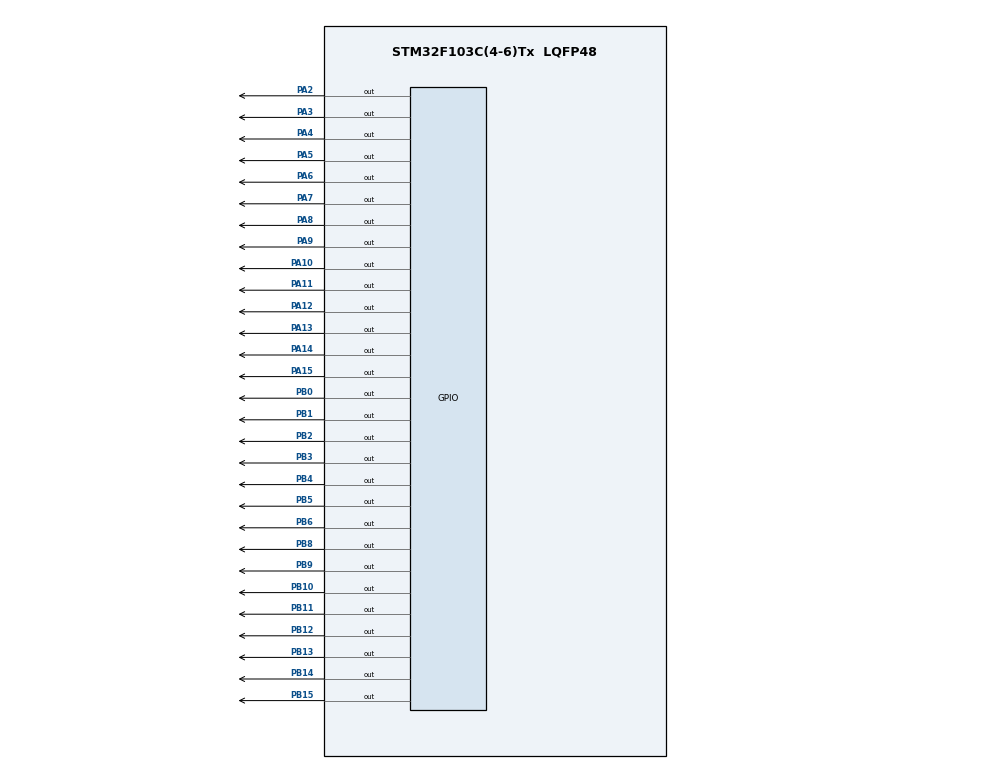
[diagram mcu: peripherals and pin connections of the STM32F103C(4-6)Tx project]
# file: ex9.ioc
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Mcu.Family=STM32F1
Mcu.Name=STM32F103C(4-6)Tx
Mcu.Package=LQFP48
NVIC.PriorityGroup=NVIC_PRIORITYGROUP_4
NVIC.TIM2_IRQn=true\:0\:0\:false\:false\:true\:true\:true
PA10.Signal=GPIO_Output
PA11.Signal=GPIO_Output
PA12.Signal=GPIO_Output
PA13.Signal=GPIO_Output
PA14.Signal=GPIO_Output
PA15.Signal=GPIO_Output
PA2.Signal=GPIO_Output
PA3.Signal=GPIO_Output
PA4.Signal=GPIO_Output
PA5.Signal=GPIO_Output
PA6.Signal=GPIO_Output
PA7.Signal=GPIO_Output
PA8.Signal=GPIO_Output
PA9.Signal=GPIO_Output
PB0.Signal=GPIO_Output
PB1.Signal=GPIO_Output
PB10.Signal=GPIO_Output
PB11.Signal=GPIO_Output
PB12.Signal=GPIO_Output
PB13.Signal=GPIO_Output
PB14.Signal=GPIO_Output
PB15.Signal=GPIO_Output
PB2.Signal=GPIO_Output
PB3.Signal=GPIO_Output
PB4.Signal=GPIO_Output
PB5.Signal=GPIO_Output
PB6.Signal=GPIO_Output
PB8.Signal=GPIO_Output
PB9.Signal=GPIO_Output
PD0-OSC_IN.Mode=HSE-External-Oscillator
PD0-OSC_IN.Signal=RCC_OSC_IN
PD1-OSC_OUT.Mode=HSE-External-Oscillator
PD1-OSC_OUT.Signal=RCC_OSC_OUT
ProjectManager.HeapSize=0x200
ProjectManager.StackSize=0x400
ProjectManager.TargetToolchain=STM32CubeIDE
RCC.APB1Freq_Value=8000000
RCC.APB2Freq_Value=8000000
TIM2.Period=9
TIM2.Prescaler=7999
VP_SYS_VS_ND.Mode=No_Debug
VP_TIM2_VS_ClockSourceINT.Mode=Internal
board=custom

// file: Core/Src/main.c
/* USER CODE BEGIN Header */
/**
  ******************************************************************************
  * @file           : main.c
  * @brief          : Main program body
  ******************************************************************************
  * @attention
  *
  * <h2><center>&copy; Copyright (c) 2021 STMicroelectronics.
  * All rights reserved.</center></h2>
  *
  * This software component is licensed by ST under BSD 3-Clause license,
  * the "License"; You may not use this file except in compliance with the
  * License. You may obtain a copy of the License at:
  *                        opensource.org/licenses/BSD-3-Clause
  *
  ******************************************************************************
  */
/* USER CODE END Header */
#include "main.h"

TIM_HandleTypeDef htim2;

void SystemClock_Config(void);
static void MX_GPIO_Init(void);
static void MX_TIM2_Init(void);

/* USER CODE BEGIN 0 */
/* USER CODE END PFP */

/* Private user code ---------------------------------------------------------*/
/* USER CODE BEGIN 0 */
void display7SEG(int num)
{
    HAL_GPIO_WritePin(GPIOB, GPIO_PIN_0 | GPIO_PIN_1 | GPIO_PIN_2 | GPIO_PIN_3 | GPIO_PIN_4 | GPIO_PIN_5 | GPIO_PIN_6, GPIO_PIN_SET);
    switch (num)
    {
    case 0:
        HAL_GPIO_WritePin(GPIOB, GPIO_PIN_0 | GPIO_PIN_1 | GPIO_PIN_2 | GPIO_PIN_3 | GPIO_PIN_4 | GPIO_PIN_5, GPIO_PIN_RESET);
        break;
    case 1:
        HAL_GPIO_WritePin(GPIOB, GPIO_PIN_1 | GPIO_PIN_2, GPIO_PIN_RESET);
        break;
    case 2:
        HAL_GPIO_WritePin(GPIOB, GPIO_PIN_0 | GPIO_PIN_1 | GPIO_PIN_3 | GPIO_PIN_4 | GPIO_PIN_6, GPIO_PIN_RESET);
        break;
    case 3:
        HAL_GPIO_WritePin(GPIOB, GPIO_PIN_0 | GPIO_PIN_1 | GPIO_PIN_2 | GPIO_PIN_3 | GPIO_PIN_6, GPIO_PIN_RESET);
        break;
    case 4:
        HAL_GPIO_WritePin(GPIOB, GPIO_PIN_1 | GPIO_PIN_2 | GPIO_PIN_5 | GPIO_PIN_6, GPIO_PIN_RESET);
        break;
    case 5:
        HAL_GPIO_WritePin(GPIOB, GPIO_PIN_0 | GPIO_PIN_2 | GPIO_PIN_3 | GPIO_PIN_5 | GPIO_PIN_6, GPIO_PIN_RESET);
        break;
    case 6:
        HAL_GPIO_WritePin(GPIOB, GPIO_PIN_0 | GPIO_PIN_2 | GPIO_PIN_3 | GPIO_PIN_4 | GPIO_PIN_5 | GPIO_PIN_6, GPIO_PIN_RESET);
        break;
    case 7:
        HAL_GPIO_WritePin(GPIOB, GPIO_PIN_0 | GPIO_PIN_1 | GPIO_PIN_2, GPIO_PIN_RESET);
        break;
    case 8:
        HAL_GPIO_WritePin(GPIOB, GPIO_PIN_0 | GPIO_PIN_1 | GPIO_PIN_2 | GPIO_PIN_3 | GPIO_PIN_4 | GPIO_PIN_5 | GPIO_PIN_6, GPIO_PIN_RESET);
        break;
    case 9:
        HAL_GPIO_WritePin(GPIOB, GPIO_PIN_0 | GPIO_PIN_1 | GPIO_PIN_2 | GPIO_PIN_3 | GPIO_PIN_5 | GPIO_PIN_6, GPIO_PIN_RESET);
        break;
    default:
        break;
    }
}
/* USER CODE END 0 */
const int MAX_LED = 4;
int index_led = 0;
int led_buffer[4] = {0, 4, 1, 9};
void update7SEG(int index)
{
    switch (index)
    {
    case 0:
        if (HAL_GPIO_ReadPin(GPIOA, GPIO_PIN_9) == GPIO_PIN_RESET)
        {
            HAL_GPIO_WritePin(GPIOA, GPIO_PIN_9, SET);
        }
        display7SEG(led_buffer[0]);
        HAL_GPIO_WritePin(GPIOA, GPIO_PIN_7 | GPIO_PIN_8 | GPIO_PIN_9, GPIO_PIN_SET);
        HAL_GPIO_WritePin(GPIOA, GPIO_PIN_6, RESET);
        break;
    case 1:
        display7SEG(led_buffer[1]);
        HAL_GPIO_WritePin(GPIOA, GPIO_PIN_6 | GPIO_PIN_8 | GPIO_PIN_9, GPIO_PIN_SET);
        HAL_GPIO_WritePin(GPIOA, GPIO_PIN_7, RESET);
        break;
    case 2:
        display7SEG(led_buffer[2]);
        HAL_GPIO_WritePin(GPIOA, GPIO_PIN_6 | GPIO_PIN_7 | GPIO_PIN_9, GPIO_PIN_SET);
        HAL_GPIO_WritePin(GPIOA, GPIO_PIN_8, RESET);
        break;
    case 3:
        display7SEG(led_buffer[3]);
        HAL_GPIO_WritePin(GPIOA, GPIO_PIN_6 | GPIO_PIN_7 | GPIO_PIN_8, GPIO_PIN_SET);
        HAL_GPIO_WritePin(GPIOA, GPIO_PIN_9, RESET);
        break;
    default:
        break;
    }
}
//aaaaaaaaaaaaaaaaaaaaa
const int MAX_LED_MATRIX = 8;
int index_led_matrix = 0;
uint8_t matrix_buffer[8]={0x01, 0x02, 0x03, 0x04, 0x05, 0x06, 0x07, 0x08};
//ky tu a tren matrix
uint8_t display[1][8] = {{0x00, 0xFE, 0xFF, 0x31, 0x31, 0xFF, 0xFE, 0x00}};

//dua ky tu can hien thi vao 8 o matrix buffer

void updateMatrixBuffer(char *str)
{
    int i;
    for (i = 0; i <= 7; i++)
    {
        matrix_buffer[i] = display[*str - 65][i];
    }
}

//hien thi tung o trong 1 hang cua led matrix
void displayLedMatrix(uint8_t byte)
{
    HAL_GPIO_WritePin(GPIOA, GPIO_PIN_15, byte & 0x80);
    byte = byte << 1;
    HAL_GPIO_WritePin(GPIOA, GPIO_PIN_14, byte & 0x80);
    byte = byte << 1;
    HAL_GPIO_WritePin(GPIOA, GPIO_PIN_13, byte & 0x80);
    byte = byte << 1;
    HAL_GPIO_WritePin(GPIOA, GPIO_PIN_12, byte & 0x80);
    byte = byte << 1;
    HAL_GPIO_WritePin(GPIOA, GPIO_PIN_11, byte & 0x80);
    byte = byte << 1;
    HAL_GPIO_WritePin(GPIOA, GPIO_PIN_10, byte & 0x80);
    byte = byte << 1;
    HAL_GPIO_WritePin(GPIOA, GPIO_PIN_3, byte & 0x80);
    byte = byte << 1;
    HAL_GPIO_WritePin(GPIOA, GPIO_PIN_2, byte & 0x80);
}
//quet led matrix
void updateLEDMatrix(int index)
{
    index = index % MAX_LED_MATRIX;

    switch (index)
    {
    case 0:
        HAL_GPIO_WritePin(GPIOB,
                          GPIO_PIN_15 | GPIO_PIN_14 | GPIO_PIN_13 | GPIO_PIN_12 | GPIO_PIN_11 | GPIO_PIN_10 | GPIO_PIN_9,
                          GPIO_PIN_RESET);
        displayLedMatrix(matrix_buffer[0]);
        HAL_GPIO_WritePin(GPIOB, GPIO_PIN_8, GPIO_PIN_SET);
        break;
    case 1:
        HAL_GPIO_WritePin(GPIOB,
                          GPIO_PIN_15 | GPIO_PIN_14 | GPIO_PIN_13 | GPIO_PIN_12 | GPIO_PIN_11 | GPIO_PIN_10 | GPIO_PIN_8,
                          GPIO_PIN_RESET);
        displayLedMatrix(matrix_buffer[1]);
        HAL_GPIO_WritePin(GPIOB, GPIO_PIN_9, GPIO_PIN_SET);
        break;
    case 2:
        HAL_GPIO_WritePin(GPIOB,
                          GPIO_PIN_15 | GPIO_PIN_14 | GPIO_PIN_13 | GPIO_PIN_12 | GPIO_PIN_11 | GPIO_PIN_9 | GPIO_PIN_8,
                          GPIO_PIN_RESET);
        displayLedMatrix(matrix_buffer[2]);
        HAL_GPIO_WritePin(GPIOB, GPIO_PIN_10, GPIO_PIN_SET);
        break;
    case 3:
        HAL_GPIO_WritePin(GPIOB,
                          GPIO_PIN_15 | GPIO_PIN_14 | GPIO_PIN_13 | GPIO_PIN_12 | GPIO_PIN_10 | GPIO_PIN_9 | GPIO_PIN_8,
                          GPIO_PIN_RESET);
        displayLedMatrix(matrix_buffer[3]);
        HAL_GPIO_WritePin(GPIOB, GPIO_PIN_11, GPIO_PIN_SET);
        break;
    case 4:
        HAL_GPIO_WritePin(GPIOB,
                          GPIO_PIN_15 | GPIO_PIN_14 | GPIO_PIN_13 | GPIO_PIN_11 | GPIO_PIN_10 | GPIO_PIN_9 | GPIO_PIN_8,
                          GPIO_PIN_RESET);
        displayLedMatrix(matrix_buffer[4]);
        HAL_GPIO_WritePin(GPIOB, GPIO_PIN_12, GPIO_PIN_SET);
        break;
    case 5:
        HAL_GPIO_WritePin(GPIOB,
                          GPIO_PIN_15 | GPIO_PIN_14 | GPIO_PIN_12 | GPIO_PIN_11 | GPIO_PIN_10 | GPIO_PIN_9 | GPIO_PIN_8,
                          GPIO_PIN_RESET);
        displayLedMatrix(matrix_buffer[5]);
        HAL_GPIO_WritePin(GPIOB, GPIO_PIN_13, GPIO_PIN_SET);
        break;
    case 6:
        HAL_GPIO_WritePin(GPIOB,
                          GPIO_PIN_15 | GPIO_PIN_13 | GPIO_PIN_12 | GPIO_PIN_11 | GPIO_PIN_10 | GPIO_PIN_9 | GPIO_PIN_8,
                          GPIO_PIN_RESET);
        displayLedMatrix(matrix_buffer[6]);
        HAL_GPIO_WritePin(GPIOB, GPIO_PIN_14, GPIO_PIN_SET);
        break;
    case 7:
        HAL_GPIO_WritePin(GPIOB,
                          GPIO_PIN_14 | GPIO_PIN_13 | GPIO_PIN_12 | GPIO_PIN_11 | GPIO_PIN_10 | GPIO_PIN_9 | GPIO_PIN_8,
                          GPIO_PIN_RESET);
        displayLedMatrix(matrix_buffer[7]);
        HAL_GPIO_WritePin(GPIOB, GPIO_PIN_15, GPIO_PIN_SET);
        break;
    default:
        break;
    }
}
int timer0_counter = 0;
int timer0_flag = 0;
int TIMER_CYCLE = 10;
void setTimer0(int duration)
{
    timer0_counter = duration / TIMER_CYCLE;
    timer0_flag = 0;
}
void timer_run()
{
    if (timer0_counter > 0)
    {
        timer0_counter--;
    }
    if (timer0_counter == 0)
    {
        timer0_flag = 1;
    }
}
int timer1_counter = 0;
int timer1_flag = 0;
int TIMER1_CYCLE = 10;
void setTimer1(int duration)
{
    timer1_counter = duration / TIMER1_CYCLE;
    timer1_flag = 0;
}
void timer1_run()
{
    if (timer1_counter > 0)
    {
        timer1_counter--;
    }
    if (timer1_counter == 0)
    {
        timer1_flag = 1;
    }
}
int timer2_counter = 0;
int timer2_flag = 0;
int TIMER2_CYCLE = 10;
void setTimer2(int duration)
{
    timer2_counter = duration / TIMER2_CYCLE;
    timer2_flag = 0;
}
void timer2_run()
{
    if (timer2_counter > 0)
    {
        timer2_counter--;
    }
    if (timer2_counter == 0)
    {
        timer2_flag = 1;
    }
}

void HAL_TIM_PeriodElapsedCallback(TIM_HandleTypeDef *htim)
{
    timer_run();
    timer1_run();
    timer2_run();
}
int hour = 4, minute = 19, second = 50;
void updateClockBuffer()
{
    led_buffer[0] = hour / 10;
    led_buffer[1] = hour % 10;
    led_buffer[2] = minute / 10;
    led_buffer[3] = minute % 10;
}

int main(void)
{

    /* MCU Configuration--------------------------------------------------------*/

    /* Reset of all peripherals, Initializes the Flash interface and the Systick. */
    HAL_Init();

    /* Configure the system clock */
    SystemClock_Config();

    /* Initialize all configured peripherals */
    MX_GPIO_Init();
    MX_TIM2_Init();
    /* USER CODE BEGIN 2 */
    HAL_TIM_Base_Start_IT(&htim2);
    HAL_GPIO_WritePin(GPIOA, GPIO_PIN_6 | GPIO_PIN_7 | GPIO_PIN_8 | GPIO_PIN_9, GPIO_PIN_SET);
    /* USER CODE END 2 */
    /* Infinite loop */
    setTimer0(1000);
    setTimer1(250);
    setTimer2(125);
    while (1)
    {
        if (timer0_flag == 1)
        {
            second++;
            if (second >= 60)
            {
                second = 0;
                minute++;
            }
            if (minute >= 60)
            {
                minute = 0;
                hour++;
            }
            if (hour >= 24)
            {
                hour = 0;
            }
            HAL_GPIO_TogglePin(GPIOA, GPIO_PIN_4);
            updateClockBuffer();
            setTimer0(1000);
        }
        if (timer1_flag == 1)
        {
            if (index_led > 3)
            {
                index_led = 0;
            }
            HAL_GPIO_TogglePin(GPIOA, GPIO_PIN_5);
            update7SEG(index_led++);
            setTimer1(250);
        }
        updateMatrixBuffer("A");
        /*
        for(int i=0;i<8;i++) {
        	updateLEDMatrix(i);
        	HAL_Delay(1);
        }
        */
        //updateLEDMatrix(index_led_matrix);

        if (timer2_flag == 1)
        {
            if (index_led_matrix > 7)
            {
                index_led_matrix = 0;
            }
            updateLEDMatrix(index_led_matrix++);
            setTimer2(1);
        }

    }
}

void SystemClock_Config(void)
{
  RCC_OscInitTypeDef RCC_OscInitStruct = {0};
  RCC_ClkInitTypeDef RCC_ClkInitStruct = {0};

  /** Initializes the RCC Oscillators according to the specified parameters
  * in the RCC_OscInitTypeDef structure.
  */
  RCC_OscInitStruct.OscillatorType = RCC_OSCILLATORTYPE_HSI;
  RCC_OscInitStruct.HSIState = RCC_HSI_ON;
  RCC_OscInitStruct.HSICalibrationValue = RCC_HSICALIBRATION_DEFAULT;
  RCC_OscInitStruct.PLL.PLLState = RCC_PLL_NONE;
  if (HAL_RCC_OscConfig(&RCC_OscInitStruct) != HAL_OK)
  {
    Error_Handler();
  }
  /** Initializes the CPU, AHB and APB buses clocks
  */
  RCC_ClkInitStruct.ClockType = RCC_CLOCKTYPE_HCLK|RCC_CLOCKTYPE_SYSCLK
                              |RCC_CLOCKTYPE_PCLK1|RCC_CLOCKTYPE_PCLK2;
  RCC_ClkInitStruct.SYSCLKSource = RCC_SYSCLKSOURCE_HSI;
  RCC_ClkInitStruct.AHBCLKDivider = RCC_SYSCLK_DIV1;
  RCC_ClkInitStruct.APB1CLKDivider = RCC_HCLK_DIV1;
  RCC_ClkInitStruct.APB2CLKDivider = RCC_HCLK_DIV1;

  if (HAL_RCC_ClockConfig(&RCC_ClkInitStruct, FLASH_LATENCY_0) != HAL_OK)
  {
    Error_Handler();
  }
}

static void MX_TIM2_Init(void)
{

  TIM_ClockConfigTypeDef sClockSourceConfig = {0};
  TIM_MasterConfigTypeDef sMasterConfig = {0};

  htim2.Instance = TIM2;
  htim2.Init.Prescaler = 7999;
  htim2.Init.CounterMode = TIM_COUNTERMODE_UP;
  htim2.Init.Period = 9;
  htim2.Init.ClockDivision = TIM_CLOCKDIVISION_DIV1;
  htim2.Init.AutoReloadPreload = TIM_AUTORELOAD_PRELOAD_DISABLE;
  if (HAL_TIM_Base_Init(&htim2) != HAL_OK)
  {
    Error_Handler();
  }
  sClockSourceConfig.ClockSource = TIM_CLOCKSOURCE_INTERNAL;
  if (HAL_TIM_ConfigClockSource(&htim2, &sClockSourceConfig) != HAL_OK)
  {
    Error_Handler();
  }
  sMasterConfig.MasterOutputTrigger = TIM_TRGO_RESET;
  sMasterConfig.MasterSlaveMode = TIM_MASTERSLAVEMODE_DISABLE;
  if (HAL_TIMEx_MasterConfigSynchronization(&htim2, &sMasterConfig) != HAL_OK)
  {
    Error_Handler();
  }

}

static void MX_GPIO_Init(void)
{
  GPIO_InitTypeDef GPIO_InitStruct = {0};

  /* GPIO Ports Clock Enable */
  __HAL_RCC_GPIOD_CLK_ENABLE();
  __HAL_RCC_GPIOA_CLK_ENABLE();
  __HAL_RCC_GPIOB_CLK_ENABLE();

  /*Configure GPIO pin Output Level */
  HAL_GPIO_WritePin(GPIOA, GPIO_PIN_2|GPIO_PIN_3|GPIO_PIN_4|GPIO_PIN_5
                          |GPIO_PIN_6|GPIO_PIN_7|GPIO_PIN_8|GPIO_PIN_9
                          |GPIO_PIN_10|GPIO_PIN_11|GPIO_PIN_12|GPIO_PIN_13
                          |GPIO_PIN_14|GPIO_PIN_15, GPIO_PIN_RESET);

  /*Configure GPIO pin Output Level */
  HAL_GPIO_WritePin(GPIOB, GPIO_PIN_0|GPIO_PIN_1|GPIO_PIN_2|GPIO_PIN_10
                          |GPIO_PIN_11|GPIO_PIN_12|GPIO_PIN_13|GPIO_PIN_14
                          |GPIO_PIN_15|GPIO_PIN_3|GPIO_PIN_4|GPIO_PIN_5
                          |GPIO_PIN_6|GPIO_PIN_8|GPIO_PIN_9, GPIO_PIN_RESET);

  /*Configure GPIO pins : PA2 PA3 PA4 PA5
                           PA6 PA7 PA8 PA9
                           PA10 PA11 PA12 PA13
                           PA14 PA15 */
  GPIO_InitStruct.Pin = GPIO_PIN_2|GPIO_PIN_3|GPIO_PIN_4|GPIO_PIN_5
                          |GPIO_PIN_6|GPIO_PIN_7|GPIO_PIN_8|GPIO_PIN_9
                          |GPIO_PIN_10|GPIO_PIN_11|GPIO_PIN_12|GPIO_PIN_13
                          |GPIO_PIN_14|GPIO_PIN_15;
  GPIO_InitStruct.Mode = GPIO_MODE_OUTPUT_PP;
  GPIO_InitStruct.Pull = GPIO_NOPULL;
  GPIO_InitStruct.Speed = GPIO_SPEED_FREQ_LOW;
  HAL_GPIO_Init(GPIOA, &GPIO_InitStruct);

  /*Configure GPIO pins : PB0 PB1 PB2 PB10
                           PB11 PB12 PB13 PB14
                           PB15 PB3 PB4 PB5
                           PB6 PB8 PB9 */
  GPIO_InitStruct.Pin = GPIO_PIN_0|GPIO_PIN_1|GPIO_PIN_2|GPIO_PIN_10
                          |GPIO_PIN_11|GPIO_PIN_12|GPIO_PIN_13|GPIO_PIN_14
                          |GPIO_PIN_15|GPIO_PIN_3|GPIO_PIN_4|GPIO_PIN_5
                          |GPIO_PIN_6|GPIO_PIN_8|GPIO_PIN_9;
  GPIO_InitStruct.Mode = GPIO_MODE_OUTPUT_PP;
  GPIO_InitStruct.Pull = GPIO_NOPULL;
  GPIO_InitStruct.Speed = GPIO_SPEED_FREQ_LOW;
  HAL_GPIO_Init(GPIOB, &GPIO_InitStruct);

}

void Error_Handler(void)
{
	__disable_irq();
	while (1)
	{
	}
}

/************************ (C) COPYRIGHT STMicroelectronics *****END OF FILE****/
